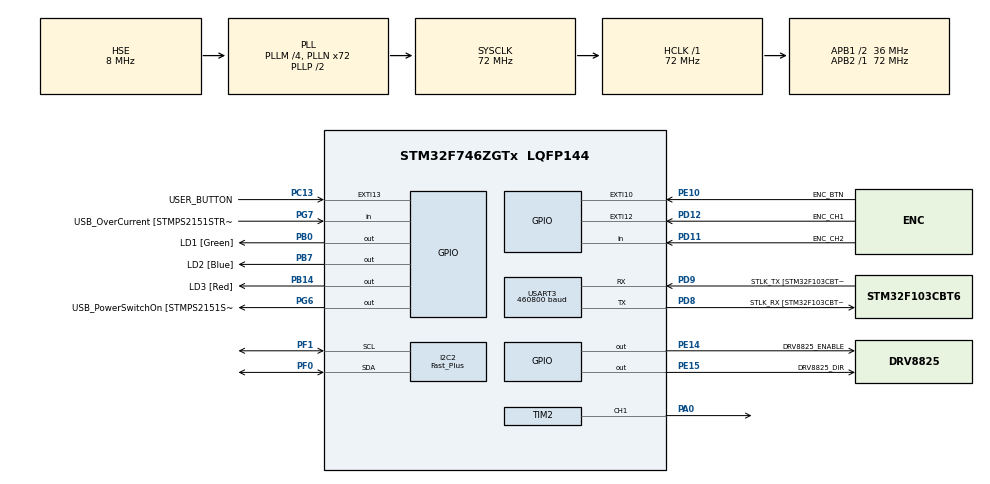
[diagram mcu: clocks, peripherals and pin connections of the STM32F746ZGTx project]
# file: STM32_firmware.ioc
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ARM.CMSIS.5.7.0.CMSISJjCORE=true
ARM.CMSIS.5.7.0.CMSISJjDSP=Library
Dma.Request0=USART3_TX
Dma.Request1=USART3_RX
Dma.USART3_RX.1.Direction=DMA_PERIPH_TO_MEMORY
Dma.USART3_RX.1.FIFOMode=DMA_FIFOMODE_DISABLE
Dma.USART3_RX.1.Instance=DMA1_Stream1
Dma.USART3_RX.1.MemDataAlignment=DMA_MDATAALIGN_BYTE
Dma.USART3_RX.1.MemInc=DMA_MINC_ENABLE
Dma.USART3_RX.1.Mode=DMA_NORMAL
Dma.USART3_RX.1.PeriphDataAlignment=DMA_PDATAALIGN_BYTE
Dma.USART3_RX.1.PeriphInc=DMA_PINC_DISABLE
Dma.USART3_RX.1.Priority=DMA_PRIORITY_LOW
Dma.USART3_TX.0.Direction=DMA_MEMORY_TO_PERIPH
Dma.USART3_TX.0.FIFOMode=DMA_FIFOMODE_DISABLE
Dma.USART3_TX.0.Instance=DMA1_Stream3
Dma.USART3_TX.0.MemDataAlignment=DMA_MDATAALIGN_BYTE
Dma.USART3_TX.0.MemInc=DMA_MINC_ENABLE
Dma.USART3_TX.0.Mode=DMA_NORMAL
Dma.USART3_TX.0.PeriphDataAlignment=DMA_PDATAALIGN_BYTE
Dma.USART3_TX.0.PeriphInc=DMA_PINC_DISABLE
Dma.USART3_TX.0.Priority=DMA_PRIORITY_VERY_HIGH
I2C2.I2C_Speed_Mode=I2C_Fast_Plus
I2C2.Timing=0x00100515
Mcu.Family=STM32F7
Mcu.Name=STM32F746ZGTx
Mcu.Package=LQFP144
NVIC.DMA1_Stream1_IRQn=true\:0\:0\:false\:false\:true\:false\:true\:true
NVIC.DMA1_Stream3_IRQn=true\:0\:0\:false\:false\:true\:false\:true\:true
NVIC.EXTI15_10_IRQn=true\:0\:0\:false\:false\:true\:true\:true\:true
NVIC.PriorityGroup=NVIC_PRIORITYGROUP_4
NVIC.TIM3_IRQn=true\:0\:0\:false\:false\:true\:true\:true\:true
NVIC.USART3_IRQn=true\:0\:0\:false\:false\:true\:true\:true\:true
PA0/WKUP.Signal=S_TIM2_CH1_ETR
PA1.GPIO_Label=RMII_REF_CLK [LAN8742A-CZ-TR_REFCLK0]
PA1.Signal=ETH_REF_CLK
PA10.GPIO_Label=USB_ID
PA10.Signal=USB_OTG_FS_ID
PA11.GPIO_Label=USB_DM
PA11.Signal=USB_OTG_FS_DM
PA12.GPIO_Label=USB_DP
PA12.Signal=USB_OTG_FS_DP
PA13.GPIO_Label=TMS
PA13.Mode=Serial_Wire
PA13.Signal=SYS_JTMS-SWDIO
PA14.GPIO_Label=TCK
PA14.Mode=Serial_Wire
PA14.Signal=SYS_JTCK-SWCLK
PA2.GPIO_Label=RMII_MDIO [LAN8742A-CZ-TR_MDIO]
PA2.Signal=ETH_MDIO
PA7.GPIO_Label=RMII_CRS_DV [LAN8742A-CZ-TR_CRS_DV]
PA7.Signal=ETH_CRS_DV
PA8.GPIO_Label=USB_SOF [TP1]
PA8.Signal=USB_OTG_FS_SOF
PA9.GPIO_Label=USB_VBUS
PA9.Signal=USB_OTG_FS_VBUS
PB0.GPIO_Label=LD1 [Green]
PB0.Signal=GPIO_Output
PB13.GPIO_Label=RMII_TXD1 [LAN8742A-CZ-TR_TXD1]
PB13.Signal=ETH_TXD1
PB14.GPIO_Label=LD3 [Red]
PB14.Signal=GPIO_Output
PB3.GPIO_Label=SW0
PB3.Signal=SYS_JTDO-SWO
PB7.GPIO_Label=LD2 [Blue]
PB7.Signal=GPIO_Output
PC1.GPIO_Label=RMII_MDC [LAN8742A-CZ-TR_MDC]
PC1.Signal=ETH_MDC
PC13.GPIO_Label=USER_BUTTON
PC13.Signal=GPXTI13
PC14/OSC32_IN.Mode=LSE-External-Oscillator
PC14/OSC32_IN.Signal=RCC_OSC32_IN
PC15/OSC32_OUT.Mode=LSE-External-Oscillator
PC15/OSC32_OUT.Signal=RCC_OSC32_OUT
PC4.GPIO_Label=RMII_RXD0 [LAN8742A-CZ-TR_RXD0]
PC4.Signal=ETH_RXD0
PC5.GPIO_Label=RMII_RXD1 [LAN8742A-CZ-TR_RXD1]
PC5.Signal=ETH_RXD1
PD11.GPIO_Label=ENC_CH2
PD11.Signal=GPIO_Input
PD12.GPIO_Label=ENC_CH1
PD12.Signal=GPXTI12
PD8.GPIO_Label=STLK_RX [STM32F103CBT6_PA3]
PD8.Mode=Asynchronous
PD8.Signal=USART3_TX
PD9.GPIO_Label=STLK_TX [STM32F103CBT6_PA2]
PD9.Mode=Asynchronous
PD9.Signal=USART3_RX
PE10.GPIO_Label=ENC_BTN
PE10.GPIO_PuPd=GPIO_PULLDOWN
PE10.Signal=GPXTI10
PE14.GPIO_Label=DRV8825_ENABLE
PE14.GPIO_Speed=GPIO_SPEED_FREQ_HIGH
PE14.PinState=GPIO_PIN_SET
PE14.Signal=GPIO_Output
PE15.GPIO_Label=DRV8825_DIR
PE15.GPIO_Speed=GPIO_SPEED_FREQ_HIGH
PE15.PinState=GPIO_PIN_SET
PE15.Signal=GPIO_Output
PF0.Mode=I2C
PF0.Signal=I2C2_SDA
PF1.Mode=I2C
PF1.Signal=I2C2_SCL
PG11.GPIO_Label=RMII_TX_EN [LAN8742A-CZ-TR_TXEN]
PG11.Signal=ETH_TX_EN
PG13.GPIO_Label=RMII_TXD0 [LAN8742A-CZ-TR_TXD0]
PG13.Signal=ETH_TXD0
PG6.GPIO_Label=USB_PowerSwitchOn [STMPS2151STR_EN]
PG6.Signal=GPIO_Output
PG7.GPIO_Label=USB_OverCurrent [STMPS2151STR_FAULT]
PG7.Signal=GPIO_Input
PH0/OSC_IN.GPIO_Label=MCO [STM32F103CBT6_PA8]
PH0/OSC_IN.Mode=HSE-External-Clock-Source
PH0/OSC_IN.Signal=RCC_OSC_IN
PH1/OSC_OUT.Mode=HSE-External-Clock-Source
PH1/OSC_OUT.Signal=RCC_OSC_OUT
ProjectManager.HeapSize=0x200
ProjectManager.StackSize=0x400
ProjectManager.TargetToolchain=STM32CubeIDE
RCC.48MHZClocksFreq_Value=24000000
RCC.AHBFreq_Value=72000000
RCC.APB1CLKDivider=RCC_HCLK_DIV2
RCC.APB1Freq_Value=36000000
RCC.APB1TimFreq_Value=72000000
RCC.APB2Freq_Value=72000000
RCC.APB2TimFreq_Value=72000000
RCC.CortexFreq_Value=72000000
RCC.HCLKFreq_Value=72000000
RCC.HSE_VALUE=8000000
RCC.HSI_VALUE=16000000
RCC.PLLM=4
RCC.PLLMUL=RCC_PLL_MUL9
RCC.PLLN=72
RCC.PLLQ=3
RCC.PLLSourceVirtual=RCC_PLLSOURCE_HSE
RCC.PRESCALERUSB=RCC_USBCLKSOURCE_PLL_DIV1_5
RCC.SYSCLKFreq_VALUE=72000000
RCC.SYSCLKSource=RCC_SYSCLKSOURCE_PLLCLK
RCC.SYSCLKSourceVirtual=RCC_SYSCLKSOURCE_PLLCLK
RCC.USBFreq_Value=48000000
RCC.VCOOutputFreq_Value=144000000
SH.S_TIM2_CH1_ETR.0=TIM2_CH1,PWM Generation1 CH1
TIM2.Channel-PWM\ Generation1\ CH1=TIM_CHANNEL_1
TIM2.Period=0xffffffff
TIM2.Prescaler=0
TIM2.Pulse-PWM\ Generation1\ CH1=0xffffffff
TIM3.Period=4000-1
TIM3.Prescaler=360-1
USART3.BaudRate=460800
USART3.VirtualMode-Asynchronous=VM_ASYNC
VP_ARM.CMSIS_VS_CMSISJjCORE_5.4.0_5.7.0.Mode=CMSISJjCORE
VP_ARM.CMSIS_VS_CMSISJjDSP_1.8.0_5.7.0.Mode=CMSISJjDSP
VP_TIM2_VS_ClockSourceINT.Mode=Internal
VP_TIM3_VS_ClockSourceINT.Mode=Internal
board=NUCLEO-F746ZG

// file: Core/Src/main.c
/* USER CODE BEGIN Header */
/**
  ******************************************************************************
  * @file           : main.c
  * @brief          : Main program body
  ******************************************************************************
  * @attention
  *
  * Copyright (c) 2022 STMicroelectronics.
  * All rights reserved.
  *
  * This software is licensed under terms that can be found in the LICENSE file
  * in the root directory of this software component.
  * If no LICENSE file comes with this software, it is provided AS-IS.
  *
  ******************************************************************************
  */
/* USER CODE END Header */
#include "main.h"
#include "dma.h"
#include "i2c.h"
#include "tim.h"
#include "usart.h"
#include "gpio.h"

/* USER CODE BEGIN Includes */

#include <stdlib.h>

#include "driver_mpu6050_dmp.h"
#include "pid_config.h"
#include "drv8825_config.h"
#include "dx_limit_config.h"
#include "encoder_config.h"
#include "rwacs_uart.h"

/* USER CODE END Includes */

/* USER CODE BEGIN PTD */

/**
 * @brief variable alias used to toggle controller cycle mode
 */
typedef enum
{
	REGULATION_STATE,
	DECELERATION_STATE
} ControllerStateTypeDef;

/* USER CODE END PTD */

/* USER CODE BEGIN PD */

// values used during deceleration
#define ACCEPTED_SPEED_RANGE 20
#define DECELERATION_RATE 300

/* USER CODE END PD */

/* USER CODE BEGIN PV */

static float32_t encoder = 0;
static float32_t angle_meas = 0;
static float32_t acceleration = 0;
static float32_t acceleration_filtered = 0;

static ControllerStateTypeDef rwacs_state = REGULATION_STATE;
volatile uint8_t cycle_flag = 0;

/* USER CODE END PV */

void SystemClock_Config(void);

/* USER CODE BEGIN 0 */

/**
 * @brief	Main controller cycle, sets acceleration to reach desired setpoint or decelerate speed to zero
 * @retval	Nothing
 */
void RWACS_Controller_Cycle()
{
	MPU6050_GetYaw(&angle_meas);

	switch(rwacs_state)
	{
		case REGULATION_STATE:
		{
			PID_Control(&hpid1, &angle_meas, &acceleration);
			break;
		}
		case DECELERATION_STATE:
		{
			acceleration = ((hdrv8825_1.Speed < -ACCEPTED_SPEED_RANGE) - (hdrv8825_1.Speed > ACCEPTED_SPEED_RANGE)) * DECELERATION_RATE;
			if(!acceleration){
				DRV8825_SetSpeed(&hdrv8825_1, &acceleration);
				rwacs_state = REGULATION_STATE;
			}
			break;
		}
	}

	DX_Limit(&hdx1, &acceleration, &acceleration_filtered);
	DRV8825_SetAcceleration(&hdrv8825_1, &acceleration_filtered);
	RWACS_Print_Controller_State(&(hpid1.Setpoint), &angle_meas, &(hdrv8825_1.Speed), &acceleration);
}

/* USER CODE END 0 */

int main(void)
{

  /* MCU Configuration--------------------------------------------------------*/

  /* Reset of all peripherals, Initializes the Flash interface and the Systick. */
  HAL_Init();

  /* Configure the system clock */
  SystemClock_Config();

  /* Initialize all configured peripherals */
  MX_GPIO_Init();
  MX_DMA_Init();
  MX_I2C2_Init();
  MX_TIM2_Init();
  MX_TIM3_Init();
  MX_USART3_UART_Init();
  /* USER CODE BEGIN 2 */

  HAL_Delay(100);
  MPU6050_Init();
  HAL_Delay(500);
  DRV8825_Init(&hdrv8825_1);
  PID_Init(&hpid1);

  RWACS_UART_Init(&hpid1);
  RWACS_Receive();

  HAL_TIM_Base_Start_IT(&htim3);

  /* USER CODE END 2 */

  /* Infinite loop */
  /* USER CODE BEGIN WHILE */
  while (1)
  {
	  if(cycle_flag == 1)
	  {
		  RWACS_Controller_Cycle();
		  cycle_flag = 0;
	  }

    /* USER CODE END WHILE */

  }
}

void SystemClock_Config(void)
{
  RCC_OscInitTypeDef RCC_OscInitStruct = {0};
  RCC_ClkInitTypeDef RCC_ClkInitStruct = {0};

  /** Configure LSE Drive Capability
  */
  HAL_PWR_EnableBkUpAccess();

  /** Configure the main internal regulator output voltage
  */
  __HAL_RCC_PWR_CLK_ENABLE();
  __HAL_PWR_VOLTAGESCALING_CONFIG(PWR_REGULATOR_VOLTAGE_SCALE3);

  /** Initializes the RCC Oscillators according to the specified parameters
  * in the RCC_OscInitTypeDef structure.
  */
  RCC_OscInitStruct.OscillatorType = RCC_OSCILLATORTYPE_HSE;
  RCC_OscInitStruct.HSEState = RCC_HSE_BYPASS;
  RCC_OscInitStruct.PLL.PLLState = RCC_PLL_ON;
  RCC_OscInitStruct.PLL.PLLSource = RCC_PLLSOURCE_HSE;
  RCC_OscInitStruct.PLL.PLLM = 4;
  RCC_OscInitStruct.PLL.PLLN = 72;
  RCC_OscInitStruct.PLL.PLLP = RCC_PLLP_DIV2;
  RCC_OscInitStruct.PLL.PLLQ = 3;
  if (HAL_RCC_OscConfig(&RCC_OscInitStruct) != HAL_OK)
  {
    Error_Handler();
  }

  /** Initializes the CPU, AHB and APB buses clocks
  */
  RCC_ClkInitStruct.ClockType = RCC_CLOCKTYPE_HCLK|RCC_CLOCKTYPE_SYSCLK
                              |RCC_CLOCKTYPE_PCLK1|RCC_CLOCKTYPE_PCLK2;
  RCC_ClkInitStruct.SYSCLKSource = RCC_SYSCLKSOURCE_PLLCLK;
  RCC_ClkInitStruct.AHBCLKDivider = RCC_SYSCLK_DIV1;
  RCC_ClkInitStruct.APB1CLKDivider = RCC_HCLK_DIV2;
  RCC_ClkInitStruct.APB2CLKDivider = RCC_HCLK_DIV1;

  if (HAL_RCC_ClockConfig(&RCC_ClkInitStruct, FLASH_LATENCY_2) != HAL_OK)
  {
    Error_Handler();
  }
}

/* USER CODE BEGIN 4 */

void HAL_GPIO_EXTI_Callback(uint16_t GPIO_Pin)
{
	encoder = ENC_UpdateCounter(&henc1, GPIO_Pin);
	if(ENC_OnButtonPress(&henc1, GPIO_Pin))
	{
		hpid1.Setpoint = encoder;
		rwacs_state = DECELERATION_STATE;
	}

/*  NOTE: Occupied GPIO lines: 10, 12, 13 	*/
}

void HAL_UART_RxCpltCallback(UART_HandleTypeDef *huart)
{
	RWACS_Parse_Data();
	PID_Init(&hpid1);
	rwacs_state = DECELERATION_STATE;
}

void HAL_TIM_PeriodElapsedCallback(TIM_HandleTypeDef *htim)
{
	if(htim->Instance == TIM3){
		cycle_flag = 1;
	}
}

/* USER CODE END 4 */

void Error_Handler(void)
{
  __disable_irq();
  while (1)
  {
  }
}
